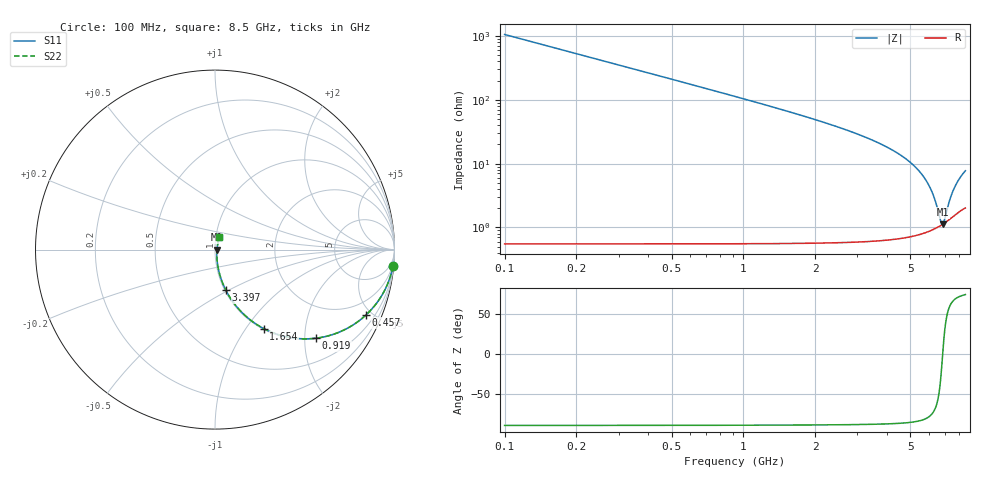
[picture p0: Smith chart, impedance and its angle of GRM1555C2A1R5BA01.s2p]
!Murata Part Number: GRM1555C2A1R5BA01
!These Parameters are Measured in Series Mode Connection
!Data Generated on Mar 30, 2021
!  o--ll--o
!Port1  Port2
!  o------o
!Operation Temp=25[degC], DC Bias Voltage=0[V]
!Freq. Start=100[MHz] Stop=9[GHz] 401[Steps]
# Hz S RI R 50
!Freq.(Hz) S11(Real) S11(Imag) S21(Real) S21(Imag) S12(Real) S12(Imag) S22(Real) S22(Imag)
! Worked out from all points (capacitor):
!   401 points, 100 MHz to 8.5 GHz, reference 50 ohm
!   read as one part in series: C = 1.5 pF near 142 MHz
!   lowest |Z| = 1.12 ohm at 6.82 GHz (marker M1)
!   series resonance near 6.828 GHz, so ESL is about 360 pH
!   S11 on the Smith chart (normalised r, x): 100 MHz: 1, -21; 457 MHz: 1.01, -4.62; 919 MHz: 1.01, -2.27; 1.654 GHz: 1.01, -1.22; 3.397 GHz: 1.01, -0.48; 8.5 GHz: 1.04, +0.15
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1e8  0.9911 -0.0934  0.00886 0.0934  0.00886 0.0934  0.9911 -0.0934
2.47e8  0.9482 -0.2209  0.0518 0.2209  0.0518 0.2209  0.9482 -0.2209
4.57e8  0.8419 -0.3637  0.1581 0.3637  0.1581 0.3637  0.8419 -0.3637
6.67e8  0.7126 -0.4508  0.2874 0.4508  0.2874 0.4508  0.7126 -0.4508
9.19e8  0.563 -0.4936  0.437 0.4936  0.437 0.4936  0.563 -0.4936
1.507e9  0.3133 -0.4597  0.6867 0.4597  0.6867 0.4597  0.3133 -0.4597
1.654e9  0.2715 -0.4402  0.7285 0.4402  0.7285 0.4402  0.2715 -0.4402
2.2e9  0.1636 -0.3635  0.8364 0.3635  0.8364 0.3635  0.1636 -0.3635
2.914e9  0.0889 -0.2751  0.9111 0.2751  0.9111 0.2751  0.0889 -0.2751
3.397e9  0.0601 -0.2255  0.9399 0.2255  0.9399 0.2255  0.0601 -0.2255
4.3e9  0.0296 -0.1498  0.9704 0.1498  0.9704 0.1498  0.0296 -0.1498
5.098e9  0.0164 -0.0954  0.9836 0.0954  0.9836 0.0954  0.0164 -0.0954
5.707e9  0.0116 -0.0591  0.9884 0.0591  0.9884 0.0591  0.0116 -0.0591
6.19e9  0.0101 -0.0326  0.9899 0.0326  0.9899 0.0326  0.0101 -0.0326
6.4e9  0.0101 -0.0216  0.9899 0.0216  0.9899 0.0216  0.0101 -0.0216
6.694e9  0.0106 -0.00664  0.9894 0.00664  0.9894 0.00664  0.0106 -0.00664
6.82e9  0.011 -0.000402  0.989 0.000402  0.989 0.000402  0.011 -0.000402
6.925e9  0.0115 0.00471  0.9885 -0.00471  0.9885 -0.00471  0.0115 0.00471
7.114e9  0.0125 0.0137  0.9875 -0.0137  0.9875 -0.0137  0.0125 0.0137
7.366e9  0.0142 0.0254  0.9858 -0.0254  0.9858 -0.0254  0.0142 0.0254
7.681e9  0.0169 0.0392  0.9831 -0.0392  0.9831 -0.0392  0.0169 0.0392
8.5e9  0.025 0.0713  0.975 -0.0713  0.975 -0.0713  0.025 0.0713
